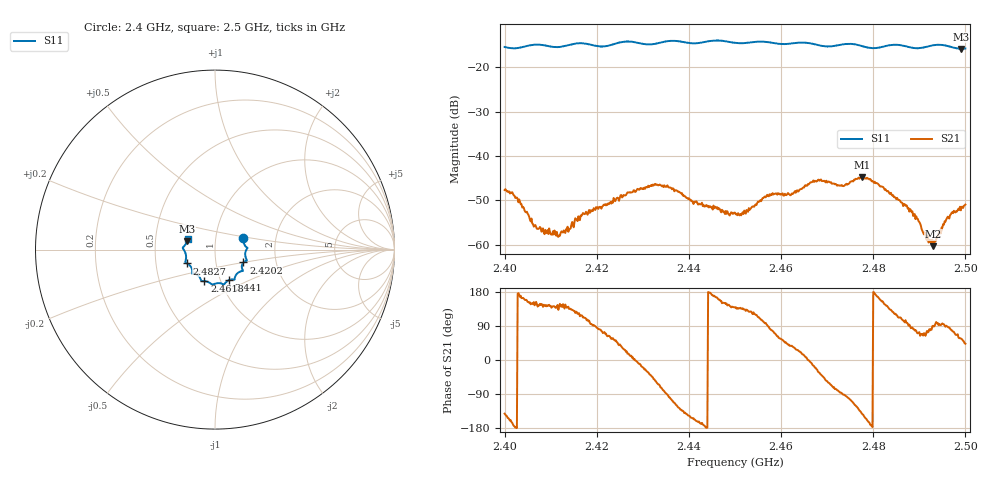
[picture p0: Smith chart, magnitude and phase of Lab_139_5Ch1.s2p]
# Hz S RI R 50
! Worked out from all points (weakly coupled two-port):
!   601 points, 2.4 GHz to 2.5 GHz, reference 50 ohm
!   highest |S21| = -44.78 dB at 2.4775 GHz (marker M1); lowest = -60.3 dB at 2.493 GHz (marker M2)
!   lowest |S11| = -15.8 dB at 2.499 GHz (marker M3), VSWR 1.39, Z = 36.4 + j3.48 ohm
!   |S11| at or under -10 dB: start of sweep to end of sweep
!   S12 and S22 are empty: the file has one direction only
!   S11 on the Smith chart (normalised r, x): 2.4 GHz: 1.36, +0.18; 2.4202 GHz: 1.36, -0.20; 2.441 GHz: 1.10, -0.39; 2.4618 GHz: 0.84, -0.30; 2.4827 GHz: 0.72, -0.12; 2.5 GHz: 0.73, +0.09
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2.4e9  0.1582 0.0625  -0.00325 -0.00257  0 0  0 0
2.403e9  0.1636 0.0279  -0.00301 0.00018  0 0  0 0
2.4065e9  0.1803 0.0101  -0.00133 0.000955  0 0  0 0
2.409e9  0.1761 0.00171  -0.0011 0.000779  0 0  0 0
2.412e9  0.1682 -0.028  -0.00107 0.000666  0 0  0 0
2.416667e9  0.1774 -0.0606  -0.000991 0.00188  0 0  0 0
2.420167e9  0.1584 -0.0714  0.00026 0.00264  0 0  0 0
2.433333e9  0.1118 -0.1511  0.00203 -0.00421  0 0  0 0
2.441e9  0.0784 -0.1698  -0.00259 -0.00128  0 0  0 0
2.45e9  0.0283 -0.1873  -0.00172 0.00152  0 0  0 0
2.457333e9  -0.0212 -0.1911  0.000138 0.00352  0 0  0 0
2.461833e9  -0.0591 -0.1756  0.00293 0.00225  0 0  0 0
2.466667e9  -0.0786 -0.1683  0.00501 -0.000809  0 0  0 0
2.473167e9  -0.1213 -0.1347  0.000213 -0.00471  0 0  0 0
2.4775e9  -0.1265 -0.1202  -0.00449 -0.00362  0 0  0 0
2.482667e9  -0.1561 -0.0774  -0.00348 0.0024  0 0  0 0
2.483333e9  -0.1604 -0.0754  -0.00291 0.00268  0 0  0 0
2.4885e9  -0.1608 -0.0433  0.000178 0.00238  0 0  0 0
2.493e9  -0.178 0.00464  -3.79e-06 0.000965  0 0  0 0
2.495833e9  -0.1754 0.0157  -1.72e-05 0.00193  0 0  0 0
2.499e9  -0.1552 0.0465  0.00134 0.00205  0 0  0 0
2.5e9  -0.1521 0.0607  0.00208 0.00194  0 0  0 0
